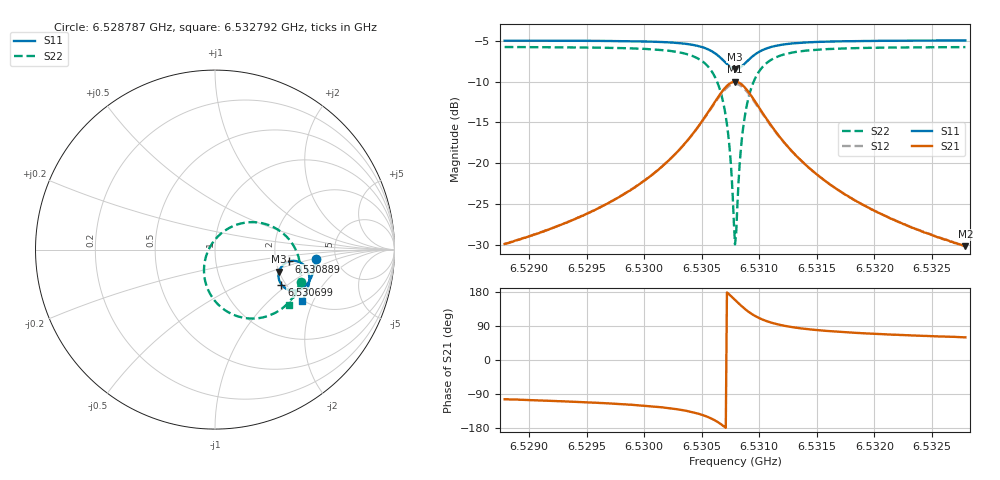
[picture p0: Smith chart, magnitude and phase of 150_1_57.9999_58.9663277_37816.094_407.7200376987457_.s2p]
#  HZ  S  RI  R  50.00
! Rohde & Schwarz Vector Network Analyzer
! Rohde-Schwarz,ZNB20-2Port,1311601062101988,3.16
! Created: UTC 3/21/2024, 12:56:59 AM
! freq[Hz]  re:S11  im:S11  re:S21  im:S21  re:S12  im:S12  re:S22  im:S22
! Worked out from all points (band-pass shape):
!   401 points, 6.528787 GHz to 6.532792 GHz, reference 50 ohm
!   highest |S21| = -10.01 dB at 6.530789 GHz (marker M1); lowest = -30.1 dB at 6.532792 GHz (marker M2)
!   |S21| within 3 dB of the highest: 6.53059 GHz to 6.53099 GHz (400 kHz wide, 0.00612 % of centre)
!   lowest |S11| = -8.5 dB at 6.530789 GHz (marker M3), VSWR 2.21, Z = 99.9 - j28.8 ohm
!   |S11| at or under -10 dB: nowhere
!   |S22| runs from -29.9 to -5.8 dB; largest |S21 - S12| = 0.013
!   S11 on the Smith chart (normalised r, x): 6.528787 GHz: 3.49, -0.53; 6.530699 GHz: 1.90, -0.90; 6.530889 GHz: 2.36, -0.38; 6.532792 GHz: 1.95, -1.66
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6.5287868e9  0.5606 -0.0521  -0.00755 -0.0312  -0.0082 -0.0311  0.4814 -0.1821
6.5294576e9  0.5513 -0.1087  -0.0172 -0.0444  -0.0182 -0.044  0.4493 -0.245
6.529838e9  0.5402 -0.1448  -0.0299 -0.0585  -0.0315 -0.0577  0.4151 -0.2902
6.5301284e9  0.524 -0.1773  -0.0516 -0.076  -0.0538 -0.0747  0.365 -0.3344
6.5303587e9  0.4972 -0.2078  -0.0923 -0.0965  -0.0953 -0.0932  0.2823 -0.3738
6.5305289e9  0.4529 -0.2278  -0.1624 -0.1035  -0.1649 -0.0966  0.1527 -0.3787
6.530629e9  0.4067 -0.223  -0.2339 -0.0767  -0.2333 -0.0665  0.0328 -0.3197
6.5306991e9  0.3703 -0.1952  -0.2872 -0.0167  -0.2809 -0.00612  -0.0451 -0.2083
6.5307391e9  0.3565 -0.1665  -0.3038 0.0376  -0.2943 0.0462  -0.0615 -0.1151
6.5307792e9  0.3549 -0.132  -0.2991 0.0999  -0.2877 0.1048  -0.0415 -0.0138
6.5307892e9  0.3567 -0.1234  -0.2942 0.1153  -0.2825 0.1191  -0.0302 0.0102
6.5307992e9  0.3596 -0.1149  -0.2876 0.1299  -0.2759 0.1327  -0.0167 0.033
6.5308092e9  0.3632 -0.1069  -0.2797 0.1439  -0.2681 0.1456  -0.00123 0.0541
6.5308292e9  0.3729 -0.0923  -0.2602 0.1688  -0.2493 0.1688  0.0355 0.0911
6.5308492e9  0.385 -0.0805  -0.2374 0.1886  -0.2274 0.1872  0.077 0.1194
6.5308893e9  0.4126 -0.066  -0.187 0.2129  -0.1797 0.2096  0.1641 0.1495
6.5309594e9  0.4568 -0.065  -0.1094 0.2153  -0.1057 0.2121  0.2947 0.1381
6.5310595e9  0.4962 -0.0868  -0.0426 0.1836  -0.0407 0.1819  0.4025 0.0684
6.5312097e9  0.5192 -0.123  -0.00194 0.136  -0.0006 0.1353  0.4615 -0.0294
6.53146e9  0.5256 -0.1668  0.0154 0.0889  0.0165 0.0886  0.4761 -0.1289
6.5321308e9  0.5094 -0.2378  0.0179 0.0427  0.0186 0.0426  0.4475 -0.2463
6.5327916e9  0.4853 -0.2889  0.0157 0.0269  0.0161 0.0267  0.4131 -0.3064
